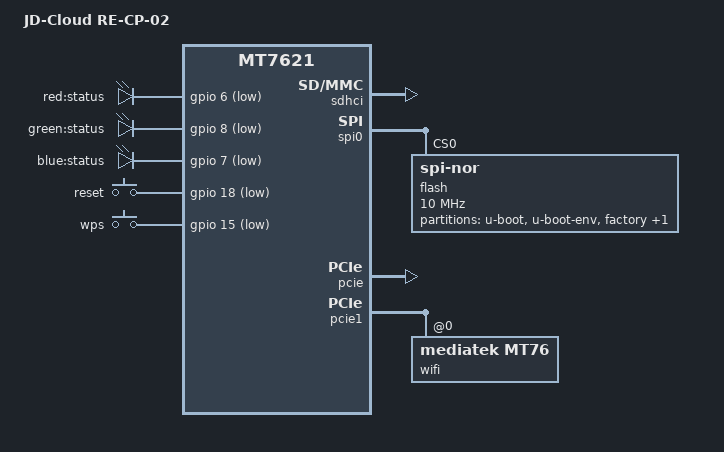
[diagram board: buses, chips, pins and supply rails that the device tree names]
// SPDX-License-Identifier: GPL-2.0-or-later OR MIT

#include "mt7621.dtsi"

#include <dt-bindings/gpio/gpio.h>
#include <dt-bindings/input/input.h>

/ {
	compatible = "jdcloud,re-cp-02", "mediatek,mt7621-soc";
	model = "JD-Cloud RE-CP-02";

	aliases {
		led-boot = &led_green;
		led-failsafe = &led_red;
		led-running = &led_blue;
		led-upgrade = &led_red;
		label-mac-device = &gmac0;
	};

	chosen {
		bootargs = "console=ttyS0,115200";
	};

	leds {
		compatible = "gpio-leds";

		led_red: red {
			label = "red:status";
			gpios = <&gpio 6 GPIO_ACTIVE_LOW>;
		};

		led_green: green {
			label = "green:status";
			gpios = <&gpio 8 GPIO_ACTIVE_LOW>;
		};

		led_blue: blue {
			label = "blue:status";
			gpios = <&gpio 7 GPIO_ACTIVE_LOW>;
		};
	};

	keys {
		compatible = "gpio-keys";

		reset {
			label = "reset";
			gpios = <&gpio 18 GPIO_ACTIVE_LOW>;
			linux,code = <KEY_RESTART>;
		};

		wps {
			label = "wps";
			gpios = <&gpio 15 GPIO_ACTIVE_LOW>;
			linux,code = <KEY_WPS_BUTTON>;
		};
	};
};

&sdhci {
	status = "okay";
};

&spi0 {
	status = "okay";

	flash@0 {
		compatible = "jedec,spi-nor";
		reg = <0>;
		spi-max-frequency = <10000000>;

		partitions {
			compatible = "fixed-partitions";
			#address-cells = <1>;
			#size-cells = <1>;

			partition@0 {
				label = "u-boot";
				reg = <0x00 0x40000>;
			};

			partition@40000 {
				label = "u-boot-env";
				reg = <0x40000 0x10000>;
			};

			factory: partition@50000 {
				label = "factory";
				reg = <0x50000 0x40000>;
			};

			partition@90000 {
				compatible = "denx,uimage";
				label = "firmware";
				reg = <0x90000 0xf70000>;
			};
		};
	};
};

&pcie {
	status = "okay";
};

&pcie1 {
	wifi@0,0 {
		compatible = "mediatek,mt76";
		reg = <0x0000 0 0 0 0>;
		mediatek,mtd-eeprom = <&factory 0x0000>;
	};
};

&gmac0 {
	mtd-mac-address = <&factory 0x3fff4>;
};

&switch0 {
	ports {
		port@1 {
			status = "okay";
			label = "lan1";
		};

		port@2 {
			status = "okay";
			label = "lan2";
		};

		port@3 {
			status = "okay";
			label = "lan3";
		};

		port@4 {
			status = "okay";
			label = "wan";
			mtd-mac-address = <&factory 0x3fffa>;
		};
	};
};

&state_default {
	gpio {
		groups = "i2c";
		function = "gpio";
	};
};
